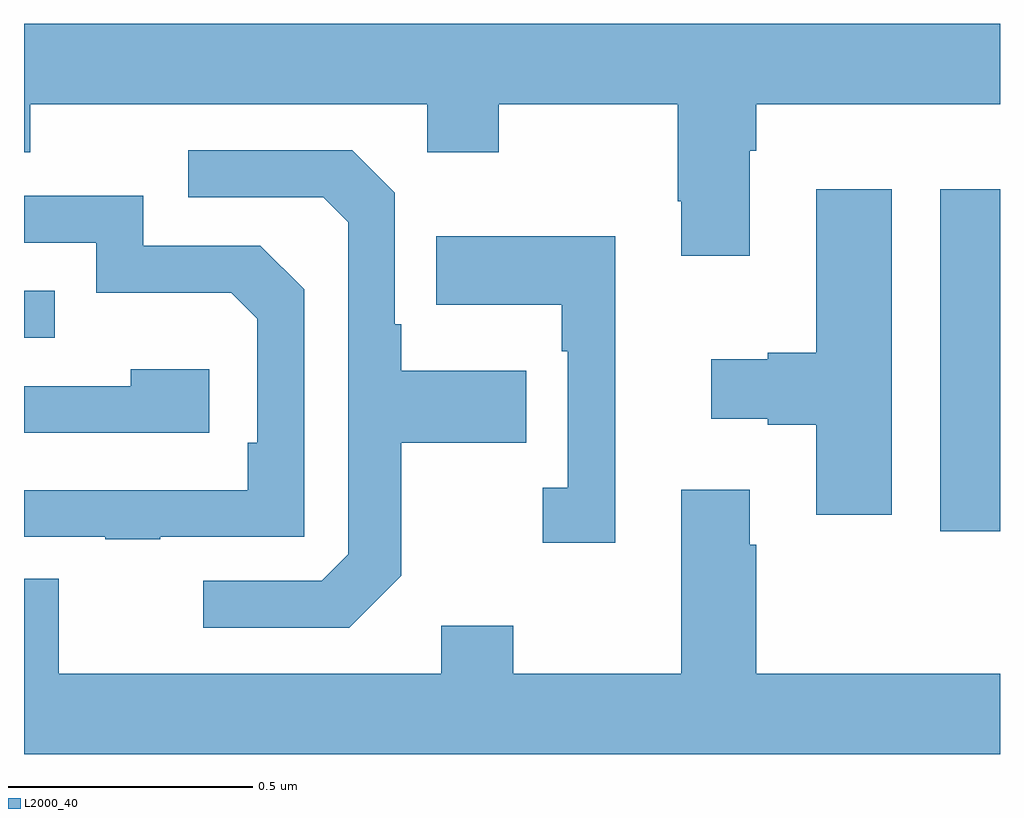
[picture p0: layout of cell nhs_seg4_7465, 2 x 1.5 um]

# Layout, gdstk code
import gdstk
lib = gdstk.Library(unit=1e-6, precision=1e-09)
def R(c, l, rs):  # rectangles x0, y0, x1, y1
    for r in rs: c.add(gdstk.rectangle(r[:2], r[2:], *l))
def P(c, l, *ps):  # polygons
    for p in ps: c.add(gdstk.Polygon(p, *l))
L2000_40 = (2000, 40)

nhs_seg4_7465 = lib.new_cell('nhs_seg4_7465')
R(nhs_seg4_7465, L2000_40, [(204.878,762.645,205,763.345), (203,763.041,203.063,763.137)])
P(nhs_seg4_7465, L2000_40, [(203,763.421),(203.013,763.421),(203.013,763.52),(203.826,763.52),(203.826,763.421),(203.973,763.421),(203.973,763.52),(204.34,763.52),(204.34,763.321),(204.347,763.321),(204.347,763.209),(204.487,763.209),(204.487,763.424),(204.5,763.424),(204.5,763.52),(205,763.52),(205,763.684),(203,763.684)],
  [(203.773,762.553),(203.773,762.826),(204.029,762.826),(204.029,762.973),(203.773,762.973),(203.773,763.069),(203.76,763.069),(203.76,763.338),(203.673,763.425),(203.337,763.425),(203.337,763.329),(203.613,763.329),(203.664,763.278),(203.664,762.597),(203.61,762.543),(203.367,762.543),(203.367,762.447),(203.667,762.447)],
  [(204.778,763.345),(204.623,763.345),(204.623,763.01),(204.524,763.01),(204.524,762.997),(204.408,762.997),(204.408,762.875),(204.524,762.875),(204.524,762.863),(204.623,762.863),(204.623,762.678),(204.778,762.678)],
  [(203.279,762.633),(203.574,762.633),(203.574,763.14),(203.484,763.23),(203.244,763.23),(203.244,763.332),(203,763.332),(203,763.236),(203.148,763.236),(203.148,763.133),(203.425,763.133),(203.478,763.08),(203.478,762.826),(203.458,762.826),(203.458,762.729),(203,762.729),(203,762.633),(203.167,762.633),(203.167,762.628),(203.279,762.628)],
  [(204.212,763.249),(203.845,763.249),(203.845,763.109),(204.102,763.109),(204.102,763.013),(204.114,763.013),(204.114,762.734),(204.063,762.734),(204.063,762.621),(204.212,762.621)],
  [(203.38,762.976),(203.219,762.976),(203.219,762.942),(203,762.942),(203,762.846),(203.38,762.846)],
  [(205,762.352),(204.5,762.352),(204.5,762.617),(204.487,762.617),(204.487,762.73),(204.347,762.73),(204.347,762.352),(204.003,762.352),(204.003,762.451),(203.855,762.451),(203.855,762.352),(203.071,762.352),(203.071,762.547),(203,762.547),(203,762.188),(205,762.188)])

lib.write_gds('nhs_seg4_7465.gds')
